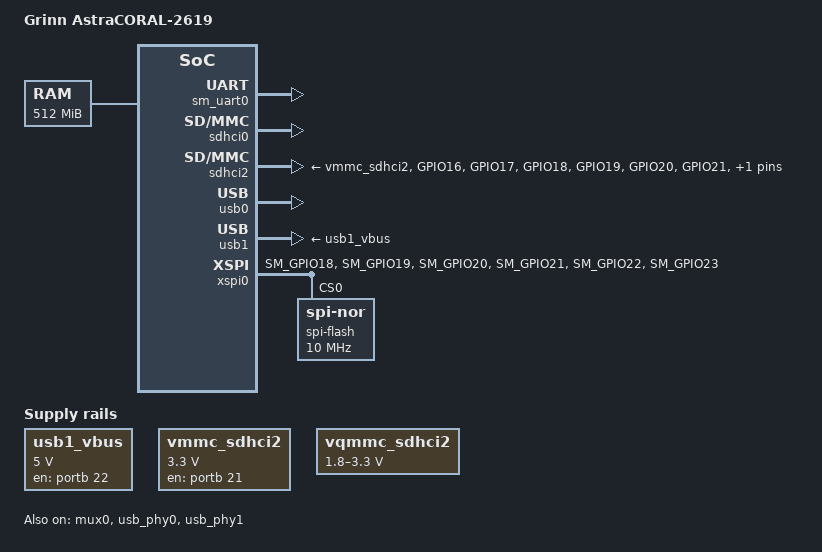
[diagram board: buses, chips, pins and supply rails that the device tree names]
// SPDX-License-Identifier: GPL-2.0+
/*
 * Copyright (C) 2016~2025 Synaptics Incorporated. All rights reserved.
 *
 * This program is free software; you can redistribute it and/or modify
 * it under the terms of the GNU General Public License version 2 or
 * later as published by the Free Software Foundation.
 *
 * INFORMATION CONTAINED IN THIS DOCUMENT IS PROVIDED "AS-IS," AND
 * SYNAPTICS EXPRESSLY DISCLAIMS ALL EXPRESS AND IMPLIED WARRANTIES,
 * INCLUDING ANY IMPLIED WARRANTIES OF MERCHANTABILITY AND FITNESS FOR
 * A PARTICULAR PURPOSE, AND ANY WARRANTIES OF NON-INFRINGEMENT OF ANY
 * INTELLECTUAL PROPERTY RIGHTS. IN NO EVENT SHALL SYNAPTICS BE LIABLE
 * FOR ANY DIRECT, INDIRECT, INCIDENTAL, SPECIAL, PUNITIVE, OR
 * CONSEQUENTIAL DAMAGES ARISING OUT OF OR IN CONNECTION WITH THE USE
 * OF THE INFORMATION CONTAINED IN THIS DOCUMENT, HOWEVER CAUSED AND
 * BASED ON ANY THEORY OF LIABILITY, WHETHER IN AN ACTION OF CONTRACT,
 * NEGLIGENCE OR OTHER TORTIOUS ACTION, AND EVEN IF SYNAPTICS WAS
 * ADVISED OF THE POSSIBILITY OF SUCH DAMAGE. IF A TRIBUNAL OF
 * COMPETENT JURISDICTION DOES NOT PERMIT THE DISCLAIMER OF DIRECT
 * DAMAGES OR ANY OTHER DAMAGES, SYNAPTICS' TOTAL CUMULATIVE LIABILITY
 * TO ANY PARTY SHALL NOT EXCEED ONE HUNDRED U.S. DOLLARS.
 */

/dts-v1/;

#include "klamath.dtsi"
#include <dt-bindings/gpio/gpio.h>

/ {
	model = "Grinn AstraCORAL-2619";
	compatible = "Synaptics,klamath", "Synaptics,asserial";

	memory {
		device_type = "memory";
		reg = <0 0 0 0x20000000>;
	};

	chosen {
		stdout-path = &sm_uart0;
	};

	regulators {
		compatible = "simple-bus";
		#address-cells = <1>;
		#size-cells = <0>;

		usb1_vbus: usb1-vbus {
			compatible = "regulator-fixed";
			regulator-name = "usb1_vbus";
			regulator-min-microvolt = <5000000>;
			regulator-max-microvolt = <5000000>;
			gpio = <&portb 22 GPIO_ACTIVE_HIGH>;
			enable-active-high;
		};
	};

	vmmc_sdhci2: vmmc-sdhci2 {
		compatible = "regulator-fixed";
		pinctrl-names = "default";
		pinctrl-0 = <&vmmc_sdhci2_pmux>;
		regulator-name = "vmmc_sdio";
		regulator-min-microvolt = <3300000>;
		regulator-max-microvolt = <3300000>;
		gpio = <&portb 21 GPIO_ACTIVE_HIGH>;
		enable-active-high;
	};

	vqmmc_sdhci2: vqmmc-sdhci2 {
		compatible = "regulator-gpio";
		pinctrl-names = "default";
		pinctrl-0 = <&vqmmc_sdhci2_pmux>;
		regulator-name = "vqmmc_sdio";
		regulator-type = "voltage";
		regulator-min-microvolt = <1800000>;
		regulator-max-microvolt = <3300000>;
		gpios = <&portb 23 GPIO_ACTIVE_HIGH>;
		enable-active-high;
		states = <1800000 0x0 3300000 0x1>;
	};
};

&mux0 {
	status = "okay";
};

&pinctrl {
	sdhci2_pmux: sdhci2-pmux {
		groups = "GPIO16", "GPIO17", "GPIO18", "GPIO19", "GPIO20", "GPIO21", "GPIO22";
		function = "sdio2";
	};

	vmmc_sdhci2_pmux: vmmc-sdhci2-pmux {
		groups = "GPIO53";
		function = "gpio";
	};

	vqmmc_sdhci2_pmux: vqmmc-sdhci2-pmux {
		groups = "GPIO55";
		function = "gpio";
	};
};

&sysmgr_pinctrl {
	xspi0_pmux: xspi0-pmux {
		groups = "SM_GPIO18", "SM_GPIO19", "SM_GPIO20", "SM_GPIO21", "SM_GPIO22", "SM_GPIO23";
		function = "xspi";
	};
};

&sm_uart0 {
	status = "okay";
};

&sdhci0 {
	status = "okay";
	pad_sn = <10>;
	pad_sp = <10>;
	mmc-ddr-1_8v;
	mmc-hs200-1_8v;
	mmc-hs400-1_8v;
	fixed-voltage;
};

&sdhci2 {
	status = "okay";
	pinctrl-names = "default";
	pinctrl-0 = <&sdhci2_pmux>;
	sdhci-sdio;
	disable-wp;
	cap-sd-highspeed;
	sd-uhs-sdr12;
	sd-uhs-sdr25;
	sd-uhs-sdr50;
	sd-uhs-sdr104;
	fixed-voltage;
	skip-phy;
	vmmc-supply = <&vmmc_sdhci2>;
	vqmmc-supply = <&vqmmc_sdhci2>;
	mux-control-names = "mux-0";
	mux-controls = <&mux0 0>;
	mux-0-value = <3>;
};

&usb_phy0 {
	status = "okay";
};

&usb0 {
	compatible = "snps,dwc2-udc";
	status = "okay";
};

&usb_phy1 {
	status = "okay";
};

&usb1 {
	compatible = "snps,dwc2-host";
	status = "okay";
	vbus-supply = <&usb1_vbus>;
};

&xspi0 {
	status = "okay";
	pinctrl-0 = <&xspi0_pmux>;
	pinctrl-names = "default";

	spi-flash@0 {
		#address-cells = <1>;
		#size-cells = <1>;
		compatible = "jedec,spi-nor";
		reg = <0>;
		spi-max-frequency = <10000000>;
	};
};
